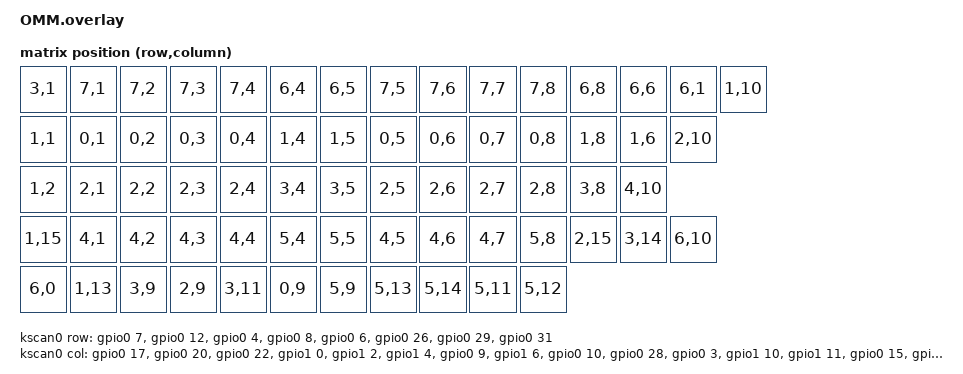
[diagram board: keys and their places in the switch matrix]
#include <dt-bindings/zmk/matrix_transform.h>

/ {
    chosen {
        zmk,kscan = &kscan0;
        zmk,matrix-transform = &default_transform;
    };

    kscan0: kscan_0 {
        compatible = "zmk,kscan-gpio-matrix";
        diode-direction = "row2col";
        wakeup-source;

        col-gpios
            = <&gpio0 17 (GPIO_ACTIVE_HIGH | GPIO_PULL_DOWN)>
            , <&gpio0 20 (GPIO_ACTIVE_HIGH | GPIO_PULL_DOWN)>
            , <&gpio0 22 (GPIO_ACTIVE_HIGH | GPIO_PULL_DOWN)>
            , <&gpio1  0 (GPIO_ACTIVE_HIGH | GPIO_PULL_DOWN)>
            , <&gpio1  2 (GPIO_ACTIVE_HIGH | GPIO_PULL_DOWN)>
            , <&gpio1  4 (GPIO_ACTIVE_HIGH | GPIO_PULL_DOWN)>
            , <&gpio0  9 (GPIO_ACTIVE_HIGH | GPIO_PULL_DOWN)>
            , <&gpio1  6 (GPIO_ACTIVE_HIGH | GPIO_PULL_DOWN)>
            , <&gpio0 10 (GPIO_ACTIVE_HIGH | GPIO_PULL_DOWN)>
            , <&gpio0 28 (GPIO_ACTIVE_HIGH | GPIO_PULL_DOWN)>
            , <&gpio0  3 (GPIO_ACTIVE_HIGH | GPIO_PULL_DOWN)>
            , <&gpio1 10 (GPIO_ACTIVE_HIGH | GPIO_PULL_DOWN)>
            , <&gpio1 11 (GPIO_ACTIVE_HIGH | GPIO_PULL_DOWN)>
            , <&gpio0 15 (GPIO_ACTIVE_HIGH | GPIO_PULL_DOWN)>
            , <&gpio0 30 (GPIO_ACTIVE_HIGH | GPIO_PULL_DOWN)>
            , <&gpio1  9 (GPIO_ACTIVE_HIGH | GPIO_PULL_DOWN)>
            ;

        row-gpios
            = <&gpio0  7 GPIO_ACTIVE_HIGH>
            , <&gpio0 12 GPIO_ACTIVE_HIGH>
            , <&gpio0  4 GPIO_ACTIVE_HIGH>
            , <&gpio0  8 GPIO_ACTIVE_HIGH>
            , <&gpio0  6 GPIO_ACTIVE_HIGH>
            , <&gpio0 26 GPIO_ACTIVE_HIGH>
            , <&gpio0 29 GPIO_ACTIVE_HIGH>
            , <&gpio0 31 GPIO_ACTIVE_HIGH>
            ;
    };

    default_transform: keymap_transform_0 {
        compatible = "zmk,matrix-transform";
        columns = <16>;
        rows = <8>;
        map = <
RC(3,1)  RC(7,1)  RC(7,2) RC(7,3) RC(7,4)  RC(6,4) RC(6,5) RC(7,5)  RC(7,6)  RC(7,7)  RC(7,8) RC(6,8)  RC(6,6)  RC(6,1)  RC(1,10)
RC(1,1)  RC(0,1)  RC(0,2) RC(0,3) RC(0,4)  RC(1,4) RC(1,5) RC(0,5)  RC(0,6)  RC(0,7)  RC(0,8) RC(1,8)  RC(1,6)  RC(2,10)
RC(1,2)  RC(2,1)  RC(2,2) RC(2,3) RC(2,4)  RC(3,4) RC(3,5) RC(2,5)  RC(2,6)  RC(2,7)  RC(2,8) RC(3,8)  RC(4,10)
RC(1,15) RC(4,1)  RC(4,2) RC(4,3) RC(4,4)  RC(5,4) RC(5,5) RC(4,5)  RC(4,6)  RC(4,7)  RC(5,8) RC(2,15) RC(3,14) RC(6,10)
RC(6,0)  RC(1,13) RC(3,9) RC(2,9) RC(3,11) RC(0,9) RC(5,9) RC(5,13) RC(5,14) RC(5,11) RC(5,12)
        >;
    };
};
